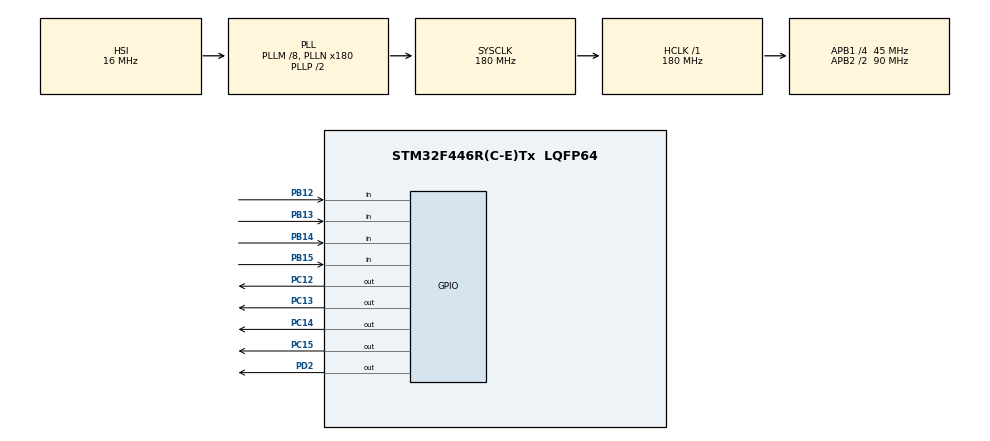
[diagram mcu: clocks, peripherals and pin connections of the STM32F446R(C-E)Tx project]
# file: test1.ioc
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Mcu.Family=STM32F4
Mcu.Name=STM32F446R(C-E)Tx
Mcu.Package=LQFP64
NVIC.PriorityGroup=NVIC_PRIORITYGROUP_4
PA13.Mode=Serial_Wire
PA13.Signal=SYS_JTMS-SWDIO
PA14.Mode=Serial_Wire
PA14.Signal=SYS_JTCK-SWCLK
PB12.Signal=GPIO_Input
PB13.Signal=GPIO_Input
PB14.Signal=GPIO_Input
PB15.Signal=GPIO_Input
PC12.Signal=GPIO_Output
PC13.Signal=GPIO_Output
PC14-OSC32_IN.Signal=GPIO_Output
PC15-OSC32_OUT.Signal=GPIO_Output
PD2.Signal=GPIO_Output
PH0-OSC_IN.Mode=HSE-External-Oscillator
PH0-OSC_IN.Signal=RCC_OSC_IN
PH1-OSC_OUT.Mode=HSE-External-Oscillator
PH1-OSC_OUT.Signal=RCC_OSC_OUT
ProjectManager.HeapSize=0x200
ProjectManager.StackSize=0x400
ProjectManager.TargetToolchain=STM32CubeIDE
RCC.AHBFreq_Value=180000000
RCC.APB1CLKDivider=RCC_HCLK_DIV4
RCC.APB1Freq_Value=45000000
RCC.APB1TimFreq_Value=90000000
RCC.APB2CLKDivider=RCC_HCLK_DIV2
RCC.APB2Freq_Value=90000000
RCC.APB2TimFreq_Value=180000000
RCC.CortexFreq_Value=180000000
RCC.HCLKFreq_Value=180000000
RCC.HSE_VALUE=16000000
RCC.PLLM=8
RCC.PLLN=180
RCC.SYSCLKFreq_VALUE=180000000
RCC.SYSCLKSource=RCC_SYSCLKSOURCE_PLLCLK
RCC.USBFreq_Value=180000000
RCC.VCOOutputFreq_Value=360000000
board=custom

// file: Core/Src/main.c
/* USER CODE BEGIN Header */
/**
  ******************************************************************************
  * @file           : main.c
  * @brief          : Main program body
  ******************************************************************************
  * @attention
  *
  * Copyright (c) 2024 STMicroelectronics.
  * All rights reserved.
  *
  * This software is licensed under terms that can be found in the LICENSE file
  * in the root directory of this software component.
  * If no LICENSE file comes with this software, it is provided AS-IS.
  *
  ******************************************************************************
  */
/* USER CODE END Header */
#include "main.h"
#include "gpio.h"

/* USER CODE BEGIN PV */
int arr_on[4]={0,};
int arr_off[4]={1,1,1,1};
/* USER CODE END PV */

void SystemClock_Config(void);

int main(void)
{

  /* MCU Configuration--------------------------------------------------------*/

  /* Reset of all peripherals, Initializes the Flash interface and the Systick. */
  HAL_Init();

  /* Configure the system clock */
  SystemClock_Config();

  /* Initialize all configured peripherals */
  MX_GPIO_Init();

  /* Infinite loop */
  while (1)
  {

    /* USER CODE BEGIN 3 */

	      HAL_GPIO_WritePin(GPIOC, GPIO_PIN_15, GPIO_PIN_SET);
	      HAL_Delay(200);
	      HAL_GPIO_WritePin(GPIOC, GPIO_PIN_15, GPIO_PIN_RESET);
	      HAL_Delay(200);

          HAL_GPIO_WritePin(GPIOC, GPIO_PIN_12, GPIO_PIN_SET);
		  HAL_Delay(200);
		  HAL_GPIO_WritePin(GPIOC, GPIO_PIN_12, GPIO_PIN_RESET);
		  HAL_Delay(200);

	      HAL_GPIO_WritePin(GPIOC, GPIO_PIN_13, GPIO_PIN_SET);
	      HAL_Delay(200);
		  HAL_GPIO_WritePin(GPIOC, GPIO_PIN_13, GPIO_PIN_RESET);
		  HAL_Delay(200);

		  HAL_GPIO_WritePin(GPIOC, GPIO_PIN_14, GPIO_PIN_SET);
		  HAL_Delay(200);
		  HAL_GPIO_WritePin(GPIOC, GPIO_PIN_14, GPIO_PIN_RESET);
		  HAL_Delay(200);

	  if(HAL_GPIO_ReadPin(GPIOB, GPIO_PIN_15))
	  {
		  HAL_Delay(5000);

	  }
	  else
	  {
	  HAL_GPIO_TogglePin(GPIOD, GPIO_PIN_2);
	  }
if(HAL_GPIO_ReadPin(GPIOB, GPIO_PIN_12))
{
	  HAL_GPIO_WritePin(GPIOC, GPIO_PIN_15, GPIO_PIN_SET);
	  HAL_Delay(200);
	  HAL_GPIO_WritePin(GPIOC, GPIO_PIN_15, GPIO_PIN_RESET);
	  HAL_Delay(200);

	  HAL_GPIO_WritePin(GPIOC, GPIO_PIN_14, GPIO_PIN_SET);
	  HAL_Delay(200);
	  HAL_GPIO_WritePin(GPIOC, GPIO_PIN_14, GPIO_PIN_RESET);
	  HAL_Delay(200);

      HAL_GPIO_WritePin(GPIOC, GPIO_PIN_13, GPIO_PIN_SET);
      HAL_Delay(200);
	  HAL_GPIO_WritePin(GPIOC, GPIO_PIN_13, GPIO_PIN_RESET);
	  HAL_Delay(200);

      HAL_GPIO_WritePin(GPIOC, GPIO_PIN_12, GPIO_PIN_SET);
      HAL_Delay(200);
	  HAL_GPIO_WritePin(GPIOC, GPIO_PIN_12, GPIO_PIN_RESET);
	  HAL_Delay(200);

  }

else if(HAL_GPIO_ReadPin(GPIOB, GPIO_PIN_13))
{
	      HAL_GPIO_TogglePin(GPIOC, GPIO_PIN_12);
	      HAL_GPIO_TogglePin(GPIOC, GPIO_PIN_13);
	      HAL_GPIO_TogglePin(GPIOC, GPIO_PIN_14);
	      HAL_GPIO_TogglePin(GPIOC, GPIO_PIN_15);
}

else if(HAL_GPIO_ReadPin(GPIOB, GPIO_PIN_14))
{

	      HAL_GPIO_WritePin(GPIOC, GPIO_PIN_12, GPIO_PIN_SET);
		  HAL_Delay(200);
		  HAL_GPIO_WritePin(GPIOC, GPIO_PIN_12, GPIO_PIN_RESET);
		  HAL_Delay(200);

		     HAL_GPIO_WritePin(GPIOC, GPIO_PIN_14, GPIO_PIN_SET);
						  HAL_Delay(200);
						  HAL_GPIO_WritePin(GPIOC, GPIO_PIN_14, GPIO_PIN_RESET);
						  HAL_Delay(200);

		  HAL_GPIO_WritePin(GPIOC, GPIO_PIN_13, GPIO_PIN_SET);
			  HAL_Delay(200);
			  HAL_GPIO_WritePin(GPIOC, GPIO_PIN_13, GPIO_PIN_RESET);
			  HAL_Delay(200);

			      HAL_GPIO_WritePin(GPIOC, GPIO_PIN_15, GPIO_PIN_SET);
					  HAL_Delay(200);
					  HAL_GPIO_WritePin(GPIOC, GPIO_PIN_15, GPIO_PIN_RESET);
					  HAL_Delay(200);
  }
  }
  /* USER CODE END 3 */
}

void SystemClock_Config(void)
{
  RCC_OscInitTypeDef RCC_OscInitStruct = {0};
  RCC_ClkInitTypeDef RCC_ClkInitStruct = {0};

  /** Configure the main internal regulator output voltage
  */
  __HAL_RCC_PWR_CLK_ENABLE();
  __HAL_PWR_VOLTAGESCALING_CONFIG(PWR_REGULATOR_VOLTAGE_SCALE1);

  /** Initializes the RCC Oscillators according to the specified parameters
  * in the RCC_OscInitTypeDef structure.
  */
  RCC_OscInitStruct.OscillatorType = RCC_OSCILLATORTYPE_HSI;
  RCC_OscInitStruct.HSIState = RCC_HSI_ON;
  RCC_OscInitStruct.HSICalibrationValue = RCC_HSICALIBRATION_DEFAULT;
  RCC_OscInitStruct.PLL.PLLState = RCC_PLL_ON;
  RCC_OscInitStruct.PLL.PLLSource = RCC_PLLSOURCE_HSI;
  RCC_OscInitStruct.PLL.PLLM = 8;
  RCC_OscInitStruct.PLL.PLLN = 180;
  RCC_OscInitStruct.PLL.PLLP = RCC_PLLP_DIV2;
  RCC_OscInitStruct.PLL.PLLQ = 2;
  RCC_OscInitStruct.PLL.PLLR = 2;
  if (HAL_RCC_OscConfig(&RCC_OscInitStruct) != HAL_OK)
  {
    Error_Handler();
  }

  /** Activate the Over-Drive mode
  */
  if (HAL_PWREx_EnableOverDrive() != HAL_OK)
  {
    Error_Handler();
  }

  /** Initializes the CPU, AHB and APB buses clocks
  */
  RCC_ClkInitStruct.ClockType = RCC_CLOCKTYPE_HCLK|RCC_CLOCKTYPE_SYSCLK
                              |RCC_CLOCKTYPE_PCLK1|RCC_CLOCKTYPE_PCLK2;
  RCC_ClkInitStruct.SYSCLKSource = RCC_SYSCLKSOURCE_PLLCLK;
  RCC_ClkInitStruct.AHBCLKDivider = RCC_SYSCLK_DIV1;
  RCC_ClkInitStruct.APB1CLKDivider = RCC_HCLK_DIV4;
  RCC_ClkInitStruct.APB2CLKDivider = RCC_HCLK_DIV2;

  if (HAL_RCC_ClockConfig(&RCC_ClkInitStruct, FLASH_LATENCY_5) != HAL_OK)
  {
    Error_Handler();
  }
}

void Error_Handler(void)
{
  __disable_irq();
  while (1)
  {
  }
}
